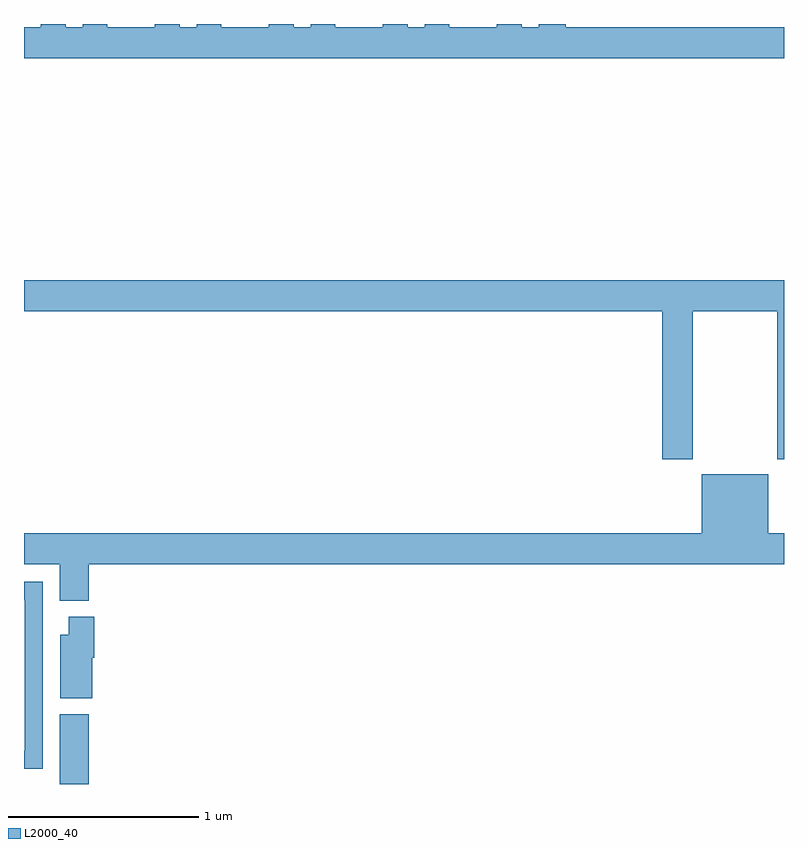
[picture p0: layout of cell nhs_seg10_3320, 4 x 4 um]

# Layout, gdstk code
import gdstk
lib = gdstk.Library(unit=1e-6, precision=1e-09)
def R(c, l, rs):  # rectangles x0, y0, x1, y1
    for r in rs: c.add(gdstk.rectangle(r[:2], r[2:], *l))
def P(c, l, *ps):  # polygons
    for p in ps: c.add(gdstk.Polygon(p, *l))
L2000_40 = (2000, 40)

nhs_seg10_3320 = lib.new_cell('nhs_seg10_3320')
R(nhs_seg10_3320, L2000_40, [(291.188,1292.5,291.341,1292.866)])
P(nhs_seg10_3320, L2000_40, [(295,1296.484),(293.852,1296.484),(293.852,1296.5),(293.708,1296.5),(293.708,1296.484),(293.62,1296.484),(293.62,1296.5),(293.489,1296.5),(293.489,1296.484),(293.239,1296.484),(293.239,1296.5),(293.108,1296.5),(293.108,1296.484),(293.02,1296.484),(293.02,1296.5),(292.889,1296.5),(292.889,1296.484),(292.639,1296.484),(292.639,1296.5),(292.508,1296.5),(292.508,1296.484),(292.42,1296.484),(292.42,1296.5),(292.289,1296.5),(292.289,1296.484),(292.039,1296.484),(292.039,1296.5),(291.908,1296.5),(291.908,1296.484),(291.82,1296.484),(291.82,1296.5),(291.689,1296.5),(291.689,1296.484),(291.439,1296.484),(291.439,1296.5),(291.308,1296.5),(291.308,1296.484),(291.22,1296.484),(291.22,1296.5),(291.089,1296.5),(291.089,1296.484),(291,1296.484),(291,1296.32),(295,1296.32)],
  [(294.519,1294.988),(294.964,1294.988),(294.964,1294.209),(295,1294.209),(295,1295.152),(291,1295.152),(291,1294.988),(294.359,1294.988),(294.359,1294.209),(294.519,1294.209)],
  [(291.341,1293.656),(295,1293.656),(295,1293.82),(294.916,1293.82),(294.916,1294.129),(294.566,1294.129),(294.566,1293.82),(291,1293.82),(291,1293.656),(291.188,1293.656),(291.188,1293.464),(291.341,1293.464)],
  [(291.099,1293.564),(291,1293.564),(291,1293.468),(291.003,1293.468),(291.003,1292.675),(291,1292.675),(291,1292.58),(291.099,1292.58)],
  [(291.358,1293.165),(291.371,1293.165),(291.371,1293.379),(291.236,1293.379),(291.236,1293.286),(291.191,1293.286),(291.191,1292.951),(291.358,1292.951)])

lib.write_gds('nhs_seg10_3320.gds')
